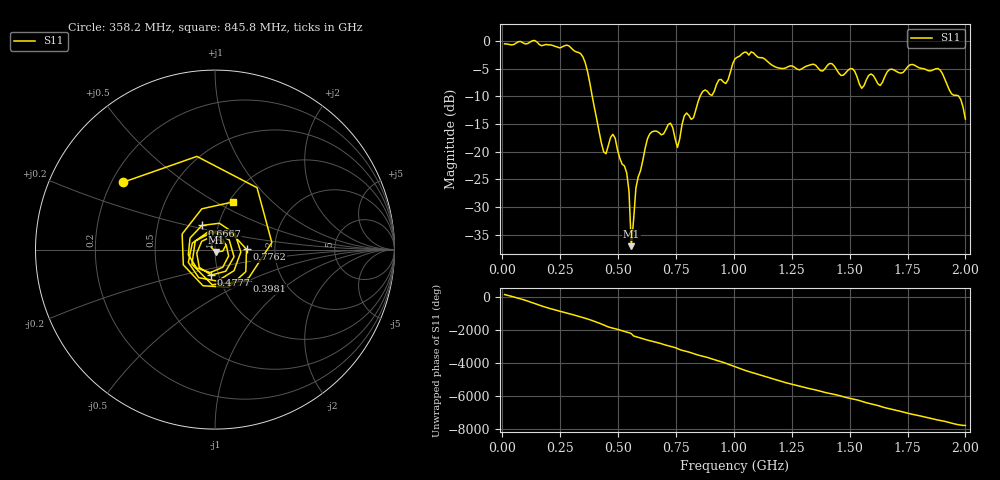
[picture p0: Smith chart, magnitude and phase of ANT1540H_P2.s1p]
!Created with skrf (http://scikit-rf.org).
# Hz S RI R 50.0
!freq ReS11 ImS11
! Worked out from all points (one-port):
!   201 points, 10 MHz to 2 GHz, reference 50 ohm
!   lowest |S11| = -37.1 dB at 557.2 MHz (marker M1), VSWR 1.03, Z = 50.5 - j1.33 ohm
!   |S11| at or under -10 dB: 388.5 MHz to 854.2 MHz (465.7 MHz wide, 75 % of centre); 1.971 GHz to end of sweep
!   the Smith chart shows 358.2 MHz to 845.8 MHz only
!   S11 on the Smith chart (normalised r, x): 358.2 MHz: 0.25, +0.31; 398.1 MHz: 1.33, -0.49; 477.6 MHz: 0.92, -0.27; 666.7 MHz: 0.83, +0.23; 776.1 MHz: 1.43, +0.01; 845.8 MHz: 1.04, +0.60
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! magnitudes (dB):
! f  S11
! 10 MHz  -0.5
! 258.8 MHz  -1.1
! 358.2 MHz  -3.9
! 398.1 MHz  -12.1
! 437.9 MHz  -20.0
! 477.6 MHz  -16.9
! 507.5 MHz  -21.2
! 537.4 MHz  -23.8
! 547.3 MHz  -27.2
! 557.2 MHz  -37.1
! 577.1 MHz  -26.5
! 587.1 MHz  -24.5
! 626.9 MHz  -17.7
! 666.7 MHz  -16.3
! 726.4 MHz  -14.9
! 756.2 MHz  -19.2
! 776.1 MHz  -15.1
! 845.8 MHz  -10.9
! 965.2 MHz  -7.7
! 1.005 GHz  -3.2
! 1.254 GHz  -4.5
! 1.502 GHz  -5.0
! 1.552 GHz  -8.6
! 1.592 GHz  -6.0
! 1.751 GHz  -4.6
! 1.891 GHz  -5.2
! 1.98 GHz  -10.6
! 2 GHz  -14.1
